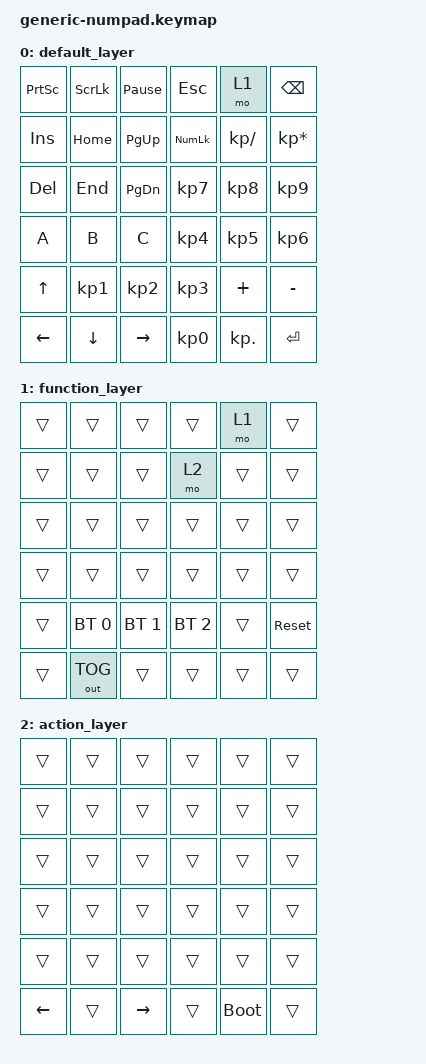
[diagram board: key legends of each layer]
#include <behaviors.dtsi>
#include <dt-bindings/zmk/keys.h>
#include <dt-bindings/zmk/bt.h>
#include <dt-bindings/zmk/outputs.h>




// ------------------default-----------------
// | prntscrn | scrlk    | pause    | esc      | LAYERSFT |     backspace     | 
// | inserT   | home     | pgup     | num lock |    /     |    *    |    -    |
// | delete   | end      | pgdn     |    7     |    8     |    9    |    +    |
// | A        | B        | C        |    4     |    5     |    6    |         |
// |          | up       |          |    1     |    2     |    3    |  ENTER  |
// | Left     | down     | right    |    0                |    .    |         |


// ----------------------------functions-------------------------------
// | NOP  | NOP  | NOP  |    NOP    | LAYERSFT  |    NOP                     |
// | NOP  | NOP  | NOP  | LAYERSFT  |   NOP     |    NOP    | Bluetooth PREV |
// | NOP  | NOP  | NOP  |    NOP    |   NOP     |    NOP    | Bluetooth Next |
// | NOP  | NOP  | NOP  |    NOP    |  OUT_TOG  |    NOP    |                |
// | NOP  | NOP  | NOP  |   BlE 0   |  BlE 1    |   BLE 2   | reset          |
// | NOP  | NOP  | NOP  |       BluetoothCLR    |    NOP    |                |


// --------------------action layer------------------
// |   NOP   |    NOP   |   NOP    |    NOP   |    NOP   |    NOP                 |
// |   NOP   |    NOP   |   NOP    |    NOP   |    NOP   |    NOP    |     NOP    |
// |   NOP   |    NOP   |   NOP    |    NOP   |    NOP   |    NOP    |     NOP    |
// |   NOP   |    NOP   |   NOP    |    NOP   |    NOP   |    NOP    |            |
// |   NOP   |    NOP   |   NOP    |    NOP   |    NOP   |    NOP    |     NOP    |
// |ArrowLeft|    NOP   |ArrowRight|          |    NOP   | BootLoader|            |



/ {
    keymap {
        compatible = "zmk,keymap";

        default_layer {
            bindings = <
    &kp PSCRN  &kp SLCK  &kp PAUSE_BREAK &kp ESC        &mo 1           &kp BSPC
    &kp INS    &kp HOME  &kp PG_UP       &kp NUMLOCK    &kp KP_DIVIDE  &kp KP_MULTIPLY 
	&kp DEL    &kp END   &kp PG_DN       &kp KP_N7      &kp KP_N8       &kp KP_N9         
    &kp A      &kp B     &kp C           &kp KP_N4      &kp KP_N5       &kp KP_N6
    &kp UP     &kp KP_N1 &kp KP_N2       &kp KP_N3      &kp PLUS        &kp MINUS
    &kp LEFT   &kp DOWN  &kp RIGHT       &kp KP_N0      &kp KP_DOT      &kp RETURN 
            >;
        };
        function_layer {
            bindings = <
    &trans   &trans       &trans        &trans       &mo 1      &trans
	&trans   &trans       &trans        &mo 2        &trans     &trans
	&trans   &trans       &trans        &trans       &trans     &trans
	&trans   &trans       &trans        &trans       &trans     &trans
    &trans   &bt BT_SEL 0 &bt BT_SEL 1  &bt BT_SEL 2 &trans     &sys_reset
    &trans   &out OUT_TOG &trans        &trans       &trans     &trans
   
   
            >;
        };
        action_layer {
            bindings = <
	&trans   &trans &trans    &trans &trans      &trans		
	&trans   &trans &trans    &trans &trans      &trans		
    &trans   &trans &trans    &trans &trans      &trans
	&trans   &trans &trans    &trans &trans      &trans
    &trans   &trans &trans    &trans &trans      &trans
    &kp LEFT &trans &kp RIGHT &trans &bootloader &trans
            >;
        };
    };
};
